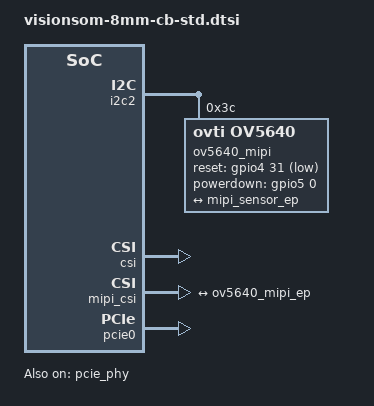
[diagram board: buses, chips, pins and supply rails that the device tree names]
// SPDX-License-Identifier: GPL-2.0-or-later
/*
 * Copyright 2020 SomLabs
 *
 */

#include <dt-bindings/phy/phy-imx8-pcie.h>
#include "visionsom-8mm-cb.dtsi"

&iomuxc {
    pinctrl_csi: csi_grp {
        fsl,pins = <
            MX8MM_IOMUXC_SAI3_TXFS_GPIO4_IO31                  0x19
            MX8MM_IOMUXC_SAI3_TXC_GPIO5_IO0                    0x19
        >;
    };
};

&i2c2 {
    ov5640_mipi: ov5640_mipi@3c {
        compatible = "ovti,ov5640";
        reg = <0x3c>;
        pinctrl-names = "default";
        pinctrl-0 = <&pinctrl_csi>;
        clocks = <&clk IMX8MM_CLK_CLKO1>;
        clock-names = "xclk";
        assigned-clocks = <&clk IMX8MM_CLK_CLKO1>;
        assigned-clock-parents = <&clk IMX8MM_CLK_24M>;
        assigned-clock-rates = <24000000>;
        reset-gpios = <&gpio4 31 GPIO_ACTIVE_LOW>;
        powerdown-gpios = <&gpio5 0 GPIO_ACTIVE_HIGH>;
        status = "okay";

        port {
            ov5640_mipi_ep: endpoint {
                remote-endpoint = <&mipi_sensor_ep>;
                clock-lanes = <0>;
                data-lanes = <1 2>;
            };
        };
    };
};

&csi {
    status = "okay";
};

&mipi_csi {
    status = "okay";
    ports {
        port@0 {
            mipi_sensor_ep: endpoint {
                remote-endpoint = <&ov5640_mipi_ep>;
                data-lanes = <1 2>;
            };
        };

    };
};

&pcie_phy {
    status = "okay";
    clocks = <&clk IMX8MM_CLK_PCIE1_PHY>;
    fsl,clkreq-unsupported;
    fsl,refclk-pad-mode = <IMX8_PCIE_REFCLK_PAD_OUTPUT>;
    fsl,tx-deemph-gen1 = <0x2d>;
    fsl,tx-deemph-gen2 = <0xf>;
};

&pcie0{
    clocks = <&clk IMX8MM_CLK_PCIE1_ROOT>,
         <&clk IMX8MM_CLK_PCIE1_AUX>,
         <&clk IMX8MM_CLK_PCIE1_PHY>;
    clock-names = "pcie", "pcie_aux", "pcie_bus";
    assigned-clocks = <&clk IMX8MM_CLK_PCIE1_AUX>,
                      <&clk IMX8MM_CLK_PCIE1_CTRL>;
    assigned-clock-rates = <10000000>, <250000000>;
    assigned-clock-parents = <&clk IMX8MM_SYS_PLL2_50M>,
                             <&clk IMX8MM_SYS_PLL2_250M>;
    ext_osc = <0>;
    status = "okay";
};
